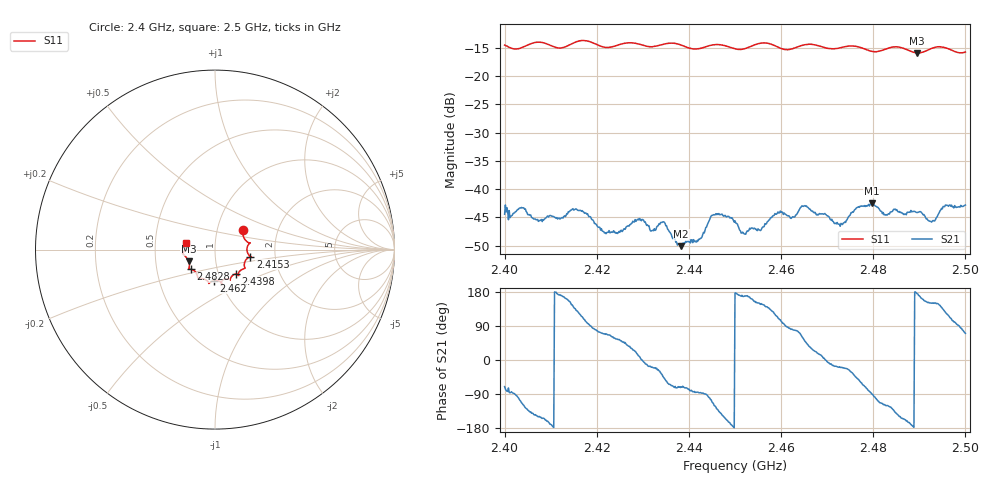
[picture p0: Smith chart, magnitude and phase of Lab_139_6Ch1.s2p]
# Hz S RI R
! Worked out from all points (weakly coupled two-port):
!   601 points, 2.4 GHz to 2.5 GHz, reference 50 ohm
!   highest |S21| = -42.53 dB at 2.4797 GHz (marker M1); lowest = -50.1 dB at 2.4383 GHz (marker M2)
!   lowest |S11| = -15.9 dB at 2.4895 GHz (marker M3), VSWR 1.38, Z = 37 - j5.02 ohm
!   |S11| at or under -10 dB: start of sweep to end of sweep
!   S12 and S22 are empty: the file has one direction only
!   S11 on the Smith chart (normalised r, x): 2.4 GHz: 1.33, +0.30; 2.4153 GHz: 1.48, -0.12; 2.4398 GHz: 1.21, -0.34; 2.462 GHz: 0.93, -0.33; 2.4828 GHz: 0.74, -0.17; 2.5 GHz: 0.72, +0.06
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2.4e9  0.1551 0.1073  0.00203 -0.00564  0 0  0 0
2.407833e9  0.1959 0.0373  -0.00464 -0.0026  0 0  0 0
2.415333e9  0.1963 -0.0386  -0.00472 0.00468  0 0  0 0
2.416667e9  0.2024 -0.0425  -0.00271 0.00576  0 0  0 0
2.421833e9  0.1692 -0.062  0.00156 0.00379  0 0  0 0
2.433333e9  0.1305 -0.1335  0.00427 -0.00203  0 0  0 0
2.438333e9  0.1273 -0.139  0.00102 -0.00295  0 0  0 0
2.439833e9  0.1158 -0.1361  0.000801 -0.00342  0 0  0 0
2.442333e9  0.0932 -0.1491  0.00022 -0.0036  0 0  0 0
2.445333e9  0.0844 -0.1697  -0.00255 -0.00536  0 0  0 0
2.45e9  0.0651 -0.1625  -0.00523 0.000278  0 0  0 0
2.451833e9  0.0455 -0.1679  -0.00398 0.000872  0 0  0 0
2.462e9  -0.00478 -0.1729  0.000728 0.00551  0 0  0 0
2.466667e9  -0.0343 -0.1884  0.00556 0.00314  0 0  0 0
2.472833e9  -0.0788 -0.1601  0.00442 -0.00156  0 0  0 0
2.479667e9  -0.107 -0.127  0.000102 -0.00748  0 0  0 0
2.482833e9  -0.1362 -0.1094  -0.00301 -0.00512  0 0  0 0
2.483333e9  -0.1401 -0.1091  -0.0032 -0.00514  0 0  0 0
2.4895e9  -0.1461 -0.0662  -0.00618 0.000522  0 0  0 0
2.492833e9  -0.1751 -0.0278  -0.00451 0.00261  0 0  0 0
2.495667e9  -0.1777 -0.0168  -0.00424 0.00585  0 0  0 0
2.5e9  -0.159 0.039  0.00244 0.00681  0 0  0 0
